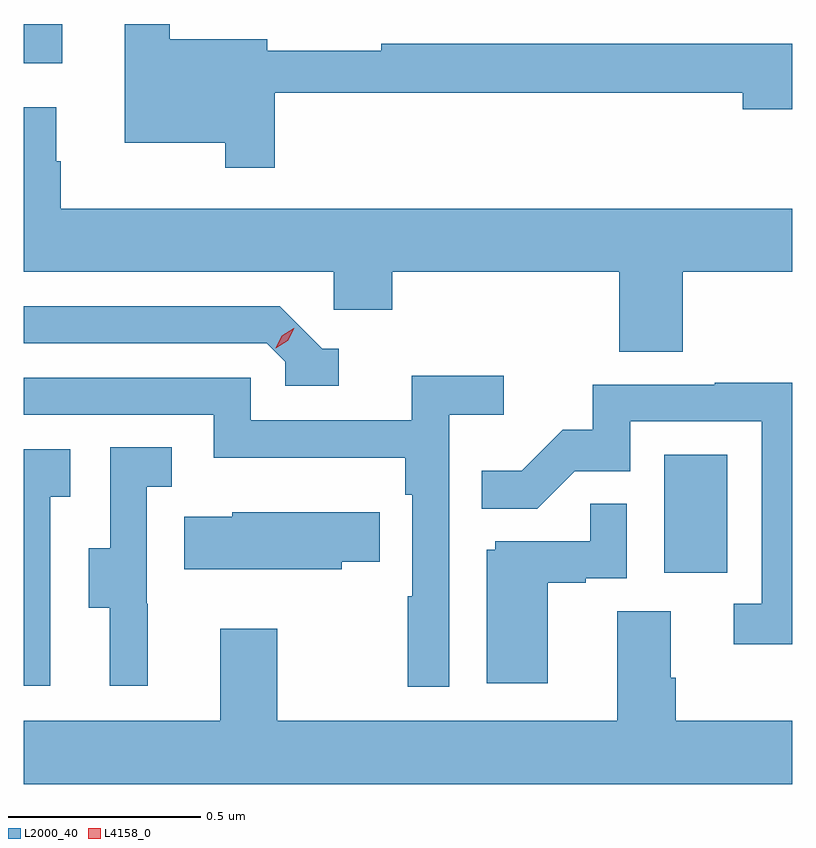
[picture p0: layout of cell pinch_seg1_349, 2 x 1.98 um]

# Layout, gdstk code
import gdstk
lib = gdstk.Library(unit=1e-6, precision=1e-09)
def R(c, l, rs):  # rectangles x0, y0, x1, y1
    for r in rs: c.add(gdstk.rectangle(r[:2], r[2:], *l))
def P(c, l, *ps):  # polygons
    for p in ps: c.add(gdstk.Polygon(p, *l))
L2000_40 = (2000, 40)
L4158_0 = (4158, 0)

pinch_seg1_349 = lib.new_cell('pinch_seg1_349')
R(pinch_seg1_349, L2000_40, [(983.654,542.958,983.818,543.265), (981.987,544.283,982.087,544.385)])
P(pinch_seg1_349, L2000_40, [(982.64,544.206),(983.858,544.206),(983.858,544.163),(983.987,544.163),(983.987,544.298),(983.986,544.298),(983.986,544.334),(982.917,544.334),(982.917,544.315),(982.621,544.315),(982.621,544.345),(982.367,544.345),(982.367,544.385),(982.25,544.385),(982.25,544.076),(982.512,544.076),(982.512,544.011),(982.64,544.011)],
  [(983.702,543.74),(983.987,543.74),(983.987,543.904),(982.084,543.904),(982.084,544.028),(982.072,544.028),(982.072,544.168),(981.987,544.168),(981.987,543.74),(982.794,543.74),(982.794,543.642),(982.946,543.642),(982.946,543.74),(983.537,543.74),(983.537,543.532),(983.702,543.532)],
  [(982.807,543.54),(982.764,543.54),(982.653,543.651),(981.987,543.651),(981.987,543.555),(982.62,543.555),(982.668,543.507),(982.668,543.444),(982.807,543.444)],
  [(983.094,543.368),(983.236,543.368),(983.236,543.47),(982.997,543.47),(982.997,543.354),(982.578,543.354),(982.578,543.465),(981.987,543.465),(981.987,543.369),(982.482,543.369),(982.482,543.257),(982.98,543.257),(982.98,543.161),(982.998,543.161),(982.998,542.897),(982.986,542.897),(982.986,542.661),(983.094,542.661)],
  [(983.987,543.452),(983.785,543.452),(983.785,543.447),(983.467,543.447),(983.467,543.33),(983.39,543.33),(983.283,543.223),(983.179,543.223),(983.179,543.124),(983.323,543.124),(983.421,543.222),(983.565,543.222),(983.565,543.351),(983.907,543.351),(983.907,542.877),(983.835,542.877),(983.835,542.772),(983.987,542.772)],
  [(982.31,542.877),(982.308,542.877),(982.308,543.181),(982.372,543.181),(982.372,543.284),(982.212,543.284),(982.212,543.021),(982.157,543.021),(982.157,542.866),(982.211,542.866),(982.211,542.664),(982.31,542.664)],
  [(982.056,543.155),(982.108,543.155),(982.108,543.279),(981.987,543.279),(981.987,542.664),(982.056,542.664)],
  [(983.35,542.931),(983.45,542.931),(983.45,542.943),(983.556,542.943),(983.556,543.137),(983.461,543.137),(983.461,543.039),(983.214,543.039),(983.214,543.018),(983.192,543.018),(983.192,542.67),(983.35,542.67)],
  [(982.815,542.986),(982.913,542.986),(982.913,543.115),(982.53,543.115),(982.53,543.103),(982.405,543.103),(982.405,542.966),(982.815,542.966)],
  [(983.987,542.572),(983.684,542.572),(983.684,542.684),(983.671,542.684),(983.671,542.858),(983.531,542.858),(983.531,542.572),(982.647,542.572),(982.647,542.812),(982.499,542.812),(982.499,542.572),(981.987,542.572),(981.987,542.408),(983.987,542.408)])
P(pinch_seg1_349, L4158_0, [(982.643,543.541),(982.643,543.542),(982.659,543.574),(982.69,543.594),(982.691,543.594),(982.691,543.594),(982.674,543.561),(982.643,543.541)])

lib.write_gds('pinch_seg1_349.gds')
